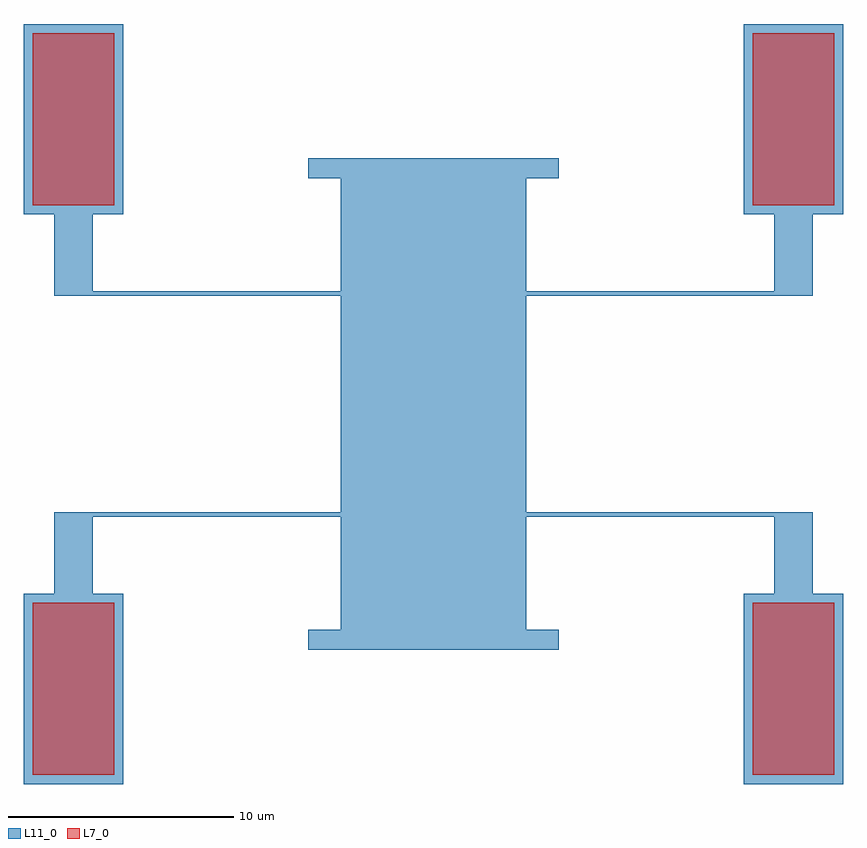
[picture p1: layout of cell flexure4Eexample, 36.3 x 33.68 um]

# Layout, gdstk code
import gdstk
lib = gdstk.Library(unit=1e-6, precision=1e-09)
def R(c, l, rs):  # rectangles x0, y0, x1, y1
    for r in rs: c.add(gdstk.rectangle(r[:2], r[2:], *l))
def P(c, l, *ps):  # polygons
    for p in ps: c.add(gdstk.Polygon(p, *l))
L7_0 = (7, 0)
L11_0 = (11, 0)

flexure4eexample = lib.new_cell('flexure4Eexample')
R(flexure4eexample, L7_0, [(-17.75,-16.44,-14.15,-8.8), (14.15,-16.44,17.75,-8.8), (-17.75,8.8,-14.15,16.44), (14.15,8.8,17.75,16.44)])
R(flexure4eexample, L11_0, [(-16.8,4.8,-15.1,8.4), (15.1,4.8,16.8,8.4), (-18.15,8.4,-13.75,16.84), (13.75,8.4,18.15,16.84)])
P(flexure4eexample, L11_0, [(-18.15,-16.84),(-18.15,-8.4),(-16.8,-8.4),(-16.8,-4.8),(-15.1,-4.8),(-15.1,-8.4),(-13.75,-8.4),(-13.75,-16.84)],
  [(13.75,-16.84),(13.75,-8.4),(15.1,-8.4),(15.1,-4.8),(16.8,-4.8),(16.8,-8.4),(18.15,-8.4),(18.15,-16.84)],
  [(-5.54,-10.88),(-5.54,-10),(-4.1,-10),(-4.1,-5),(-15.1,-5),(-15.1,-4.8),(-4.1,-4.8),(-4.1,4.8),(-15.1,4.8),(-15.1,5),(-4.1,5),(-4.1,10),(-5.54,10),(-5.54,10.88),(5.54,10.88),(5.54,10),(4.1,10),(4.1,5),(15.1,5),(15.1,4.8),(4.1,4.8),(4.1,-4.8),(15.1,-4.8),(15.1,-5),(4.1,-5),(4.1,-10),(5.54,-10),(5.54,-10.88)])

lib.write_gds('flexure4Eexample.gds')
